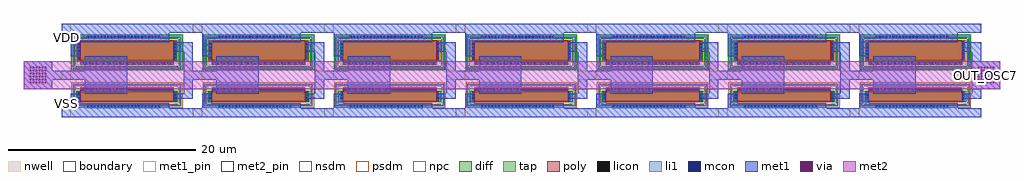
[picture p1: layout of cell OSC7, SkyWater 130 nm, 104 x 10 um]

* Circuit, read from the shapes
.subckt OSC7 OUT_OSC7 VDD VSS
XM1 inv_x4_6/INV_IN OUT_OSC7 VSS VSS sky130_fd_pr__nfet_01v8 w=1 l=10
XM2 inv_x4_5/INV_IN inv_x4_6/INV_IN VSS VSS sky130_fd_pr__nfet_01v8 w=1 l=10
XM3 inv_x4_3/INV_IN inv_x4_5/INV_IN VSS VSS sky130_fd_pr__nfet_01v8 w=1 l=10
XM4 inv_x4_2/INV_IN inv_x4_3/INV_IN VSS VSS sky130_fd_pr__nfet_01v8 w=1 l=10
XM5 inv_x4_1/INV_IN inv_x4_2/INV_IN VSS VSS sky130_fd_pr__nfet_01v8 w=1 l=10
XM6 inv_x4_0/INV_IN inv_x4_1/INV_IN VSS VSS sky130_fd_pr__nfet_01v8 w=1 l=10
XM7 OUT_OSC7 inv_x4_0/INV_IN VSS VSS sky130_fd_pr__nfet_01v8 w=1 l=10
XM8 inv_x4_6/INV_IN OUT_OSC7 VDD VDD sky130_fd_pr__pfet_01v8 w=2 l=10
XM9 inv_x4_5/INV_IN inv_x4_6/INV_IN VDD VDD sky130_fd_pr__pfet_01v8 w=2 l=10
XM10 inv_x4_3/INV_IN inv_x4_5/INV_IN VDD VDD sky130_fd_pr__pfet_01v8 w=2 l=10
XM11 inv_x4_2/INV_IN inv_x4_3/INV_IN VDD VDD sky130_fd_pr__pfet_01v8 w=2 l=10
XM12 inv_x4_1/INV_IN inv_x4_2/INV_IN VDD VDD sky130_fd_pr__pfet_01v8 w=2 l=10
XM13 inv_x4_0/INV_IN inv_x4_1/INV_IN VDD VDD sky130_fd_pr__pfet_01v8 w=2 l=10
XM14 OUT_OSC7 inv_x4_0/INV_IN VDD VDD sky130_fd_pr__pfet_01v8 w=2 l=10
.ends

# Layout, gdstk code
import gdstk
lib = gdstk.Library(unit=1e-6, precision=1e-09)
def R(c, l, rs):  # rectangles x0, y0, x1, y1
    for r in rs: c.add(gdstk.rectangle(r[:2], r[2:], *l))
def A(c, l, x, y, w, h, nx, ny, dx, dy):  # array of equal rectangles
    R(c, l, [(x+i*dx, y+j*dy, x+i*dx+w, y+j*dy+h) for i in range(nx) for j in range(ny)])
nwell = (64, 20)
diff = (65, 20)
tap = (65, 44)
poly = (66, 20)
licon = (66, 44)
li1 = (67, 20)
mcon = (67, 44)
met1_pin = (68, 16)
met1 = (68, 20)
via = (68, 44)
met2_pin = (69, 16)
met2 = (69, 20)
nsdm = (93, 44)
psdm = (94, 20)
npc = (95, 20)
boundary = (235, 4)

sky130_fd_pr__nfet_01v8_ = lib.new_cell('sky130_fd_pr__nfet_01v8_QXQT3M')
R(sky130_fd_pr__nfet_01v8_, diff, [(-5.29,-0.655,5.29,0.345)])
R(sky130_fd_pr__nfet_01v8_, tap, [(-5.8,-1.215,5.8,-1.045), (-5.8,-1.045,-5.63,1.045), (5.63,-1.045,5.8,1.045), (-5.8,1.045,5.8,1.215)])
R(sky130_fd_pr__nfet_01v8_, poly, [(-5,-0.785,5,0.785)])
A(sky130_fd_pr__nfet_01v8_, licon, -5.185, -1.215, 0.17, 0.17, 31, 2, 0.34, 2.26)
A(sky130_fd_pr__nfet_01v8_, licon, -5.8, -0.595, 0.17, 0.17, 1, 4, 0, 0.34)
A(sky130_fd_pr__nfet_01v8_, licon, 5.63, -0.595, 0.17, 0.17, 1, 4, 0, 0.34)
A(sky130_fd_pr__nfet_01v8_, licon, -5.23, -0.58, 0.17, 0.17, 1, 3, 0, 0.34)
A(sky130_fd_pr__nfet_01v8_, licon, 5.06, -0.58, 0.17, 0.17, 1, 3, 0, 0.34)
A(sky130_fd_pr__nfet_01v8_, licon, -4.845, 0.535, 0.17, 0.17, 29, 1, 0.34, 0)
R(sky130_fd_pr__nfet_01v8_, li1, [(-5.8,-1.215,5.8,-1.045), (-5.8,-1.045,-5.63,1.045), (5.63,-1.045,5.8,1.045), (-5.23,-0.675,-5.06,0.365), (5.06,-0.675,5.23,0.365), (-5,0.535,5,0.705), (-5.8,1.045,5.8,1.215)])
A(sky130_fd_pr__nfet_01v8_, mcon, -4.765, 0.535, 0.17, 0.17, 27, 1, 0.36, 0)
R(sky130_fd_pr__nfet_01v8_, mcon, [(-5.23,-0.42,-5.06,-0.25), (5.06,-0.42,5.23,-0.25), (-5.23,-0.06,-5.06,0.11), (5.06,-0.06,5.23,0.11)])
R(sky130_fd_pr__nfet_01v8_, met1, [(-5.26,-0.655,-5.03,0.345), (5.03,-0.655,5.26,0.345), (-4.98,0.505,4.98,0.735)])
R(sky130_fd_pr__nfet_01v8_, nsdm, [(-5.415,-0.78,5.415,0.47)])
R(sky130_fd_pr__nfet_01v8_, psdm, [(-5.925,-1.34,5.925,-0.92), (-5.925,-0.92,-5.505,0.92), (5.505,-0.92,5.925,0.92), (-5.925,0.92,5.925,1.34)])
R(sky130_fd_pr__nfet_01v8_, npc, [(-4.945,0.435,4.945,0.805)])
R(sky130_fd_pr__nfet_01v8_, boundary, [(-5.715,-1.13,5.715,1.13)])

sky130_fd_pr__pfet_01v8_ = lib.new_cell('sky130_fd_pr__pfet_01v8_P6BKAN')
R(sky130_fd_pr__pfet_01v8_, nwell, [(-5.98,-1.92,5.98,1.92)])
R(sky130_fd_pr__pfet_01v8_, diff, [(-5.29,-0.82,5.29,1.18)])
R(sky130_fd_pr__pfet_01v8_, tap, [(-5.8,-1.74,5.8,-1.57), (-5.8,-1.57,-5.63,1.57), (5.63,-1.57,5.8,1.57), (-5.8,1.57,5.8,1.74)])
R(sky130_fd_pr__pfet_01v8_, poly, [(-5,-1.305,5,1.31)])
A(sky130_fd_pr__pfet_01v8_, licon, -5.185, -1.74, 0.17, 0.17, 31, 2, 0.34, 3.31)
A(sky130_fd_pr__pfet_01v8_, licon, -4.845, -1.225, 0.17, 0.17, 29, 1, 0.34, 0)
A(sky130_fd_pr__pfet_01v8_, licon, -5.8, -1.105, 0.17, 0.17, 1, 7, 0, 0.34)
A(sky130_fd_pr__pfet_01v8_, licon, 5.63, -1.105, 0.17, 0.17, 1, 7, 0, 0.34)
A(sky130_fd_pr__pfet_01v8_, licon, -5.23, -0.755, 0.17, 0.17, 1, 6, 0, 0.34)
A(sky130_fd_pr__pfet_01v8_, licon, 5.06, -0.755, 0.17, 0.17, 1, 6, 0, 0.34)
R(sky130_fd_pr__pfet_01v8_, li1, [(-5.8,-1.74,5.8,-1.57), (-5.8,-1.57,-5.63,1.57), (5.63,-1.57,5.8,1.57), (-5,-1.225,5,-1.055), (-5.23,-0.84,-5.06,1.2), (5.06,-0.84,5.23,1.2), (-5.8,1.57,5.8,1.74)])
A(sky130_fd_pr__pfet_01v8_, mcon, -4.765, -1.225, 0.17, 0.17, 27, 1, 0.36, 0)
A(sky130_fd_pr__pfet_01v8_, mcon, -5.23, -0.625, 0.17, 0.17, 1, 5, 0, 0.36)
A(sky130_fd_pr__pfet_01v8_, mcon, 5.06, -0.625, 0.17, 0.17, 1, 5, 0, 0.36)
R(sky130_fd_pr__pfet_01v8_, met1, [(-4.98,-1.255,4.98,-1.025), (-5.26,-0.82,-5.03,1.18), (5.03,-0.82,5.26,1.18)])
R(sky130_fd_pr__pfet_01v8_, nsdm, [(-5.925,-1.865,5.925,-1.445), (-5.925,-1.445,-5.505,1.445), (5.505,-1.445,5.925,1.445), (-5.925,1.445,5.925,1.865)])
R(sky130_fd_pr__pfet_01v8_, psdm, [(-5.415,-0.945,5.415,1.305)])
R(sky130_fd_pr__pfet_01v8_, npc, [(-4.945,-1.325,4.945,-0.955)])
R(sky130_fd_pr__pfet_01v8_, boundary, [(-5.715,-1.655,5.715,1.655)])

inv_x4 = lib.new_cell('inv_x4')
R(inv_x4, li1, [(6.7,-5,14.5,-4.6), (6.7,2.4,14.5,2.8)])
A(inv_x4, mcon, 6.735, -4.885, 0.17, 0.17, 22, 2, 0.36, 7.4)
R(inv_x4, met1_pin, [(4,-6,5,-5), (4,-2,5,-1), (17,-2,18,-1), (4,3,5,4)])
R(inv_x4, met1, [(4,-6,18,-5), (5,-5,15.5,-4.5), (5,-4.5,6,-3.5), (16,-4,18,-3.5), (6.5,-3.5,11,-2), (17,-3.5,18,1), (4,-2,11,-1), (6.5,-1,11,0.5), (5,0.5,6,2), (16,1,18,2), (5,2,15.5,3), (4,3,18,4)])
inv_x4.add(gdstk.Reference(sky130_fd_pr__nfet_01v8_, (10.98,-3.605)))
inv_x4.add(gdstk.Reference(sky130_fd_pr__pfet_01v8_, (10.98,0.92)))
inv_x4.add(gdstk.Label('VDD', (4.5,3.5), layer=68, texttype=5))
inv_x4.add(gdstk.Label('VSS', (4.5,-5.5), layer=68, texttype=5))
inv_x4.add(gdstk.Label('INV_OUT', (17.5,-1.5), layer=68, texttype=5))
inv_x4.add(gdstk.Label('INV_IN', (4.5,-1.5), layer=68, texttype=5))

osc7 = lib.new_cell('OSC7')
R(osc7, met1_pin, [(5,-4,6,-3), (5,3,6,4)])
R(osc7, met1, [(5,-4,6,-3), (1,-2,4,-1), (102,-2,105,1), (1,-1,5,0), (1,0,4,1), (5,3,6,4)])
A(osc7, via, 1.625, -1.375, 0.15, 0.15, 6, 6, 0.32, 0.32)
A(osc7, via, 102.625, -1.375, 0.15, 0.15, 6, 6, 0.32, 0.32)
R(osc7, met2_pin, [(103,-1,104,0)])
R(osc7, met2, [(1,-2,105,1)])
osc7.add(gdstk.Reference(inv_x4, (85,1)))
osc7.add(gdstk.Reference(inv_x4, (71,1)))
osc7.add(gdstk.Reference(inv_x4, (57,1)))
osc7.add(gdstk.Reference(inv_x4, (43,1)))
osc7.add(gdstk.Reference(inv_x4, (1,1)))
osc7.add(gdstk.Reference(inv_x4, (29,1)))
osc7.add(gdstk.Reference(inv_x4, (15,1)))
osc7.add(gdstk.Label('VDD', (5.5,3.5), layer=68, texttype=5))
osc7.add(gdstk.Label('VSS', (5.5,-3.5), layer=68, texttype=5))
osc7.add(gdstk.Label('OUT_OSC7', (103.5,-0.5), layer=69, texttype=5))

lib.write_gds('OSC7.gds')
